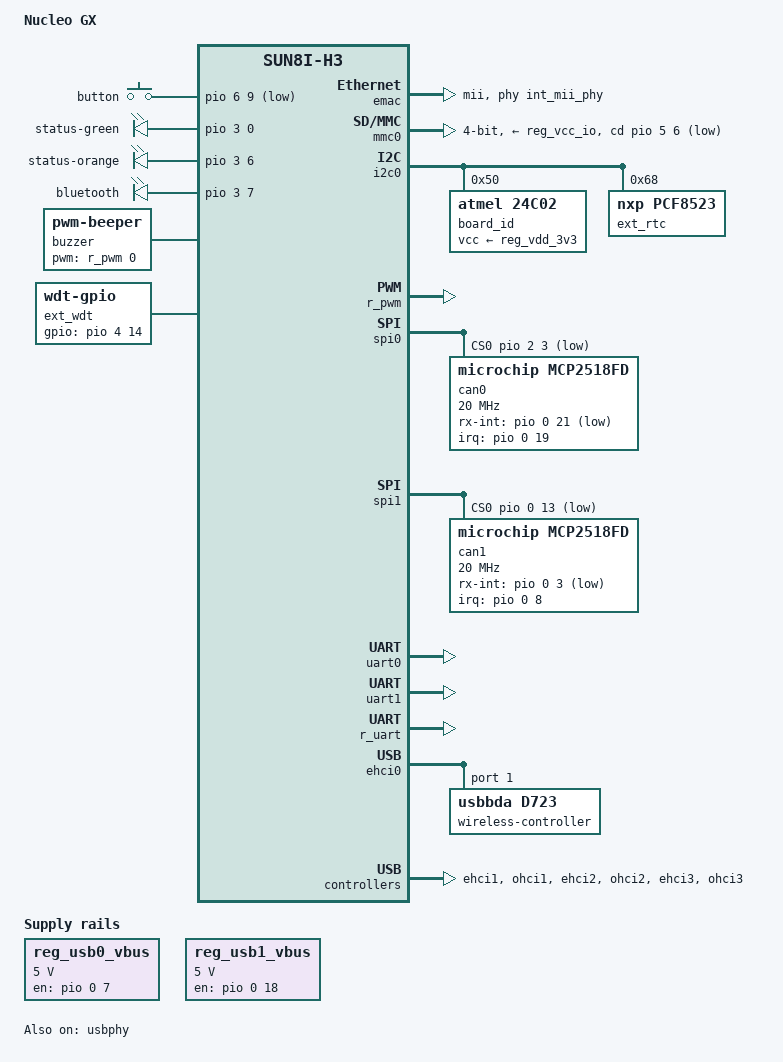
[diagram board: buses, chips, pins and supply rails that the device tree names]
// SPDX-License-Identifier: GPL-2.0 OR X11
/*
 * Copyright (C) 2023 Mans Rullgard <mans@mansr.com>
 */

/dts-v1/;

#include "sun8i-h3-sinh3-core.dtsi"
#include <dt-bindings/input/input.h>

/ {
	model = "Nucleo GX";
	compatible = "victronenergy,nucleo-gx",
		     "sinlinx,sinh3-core",
		     "allwinner,sun8i-h3";

	aliases {
		ethernet0 = &emac;
		hwmon0 = &cpu_thermal;
		i2c0 = &i2c0;
		mmc0 = &mmc0;
		mmc1 = &mmc2;
		nvmem0 = &board_id;
		rtc0 = &ext_rtc;
		rtc1 = &rtc;
		serial0 = &uart0;
		serial1 = &uart1;
		serial2 = &r_uart;
		watchdog0 = &ext_wdt;
		watchdog1 = &wdt0;
	};

	button {
		compatible = "gpio-keys";

		button {
			linux,code = <KEY_CONFIG>;
			gpios = <&pio 6 9 GPIO_ACTIVE_LOW>;	/* PG9 */
		};
	};

	leds {
		compatible = "gpio-leds";

		led-status-green {
			label = "status-green";
			gpios = <&pio 3 0 GPIO_ACTIVE_HIGH>;	/* PD0 */
			default-state = "off";
		};

		led-status-orange {
			label = "status-orange";
			gpios = <&pio 3 6 GPIO_ACTIVE_HIGH>;	/* PD6 */
			linux,default-trigger = "blink-slow";
		};

		led-bluetooth {
			label = "bluetooth";
			gpios = <&pio 3 7 GPIO_ACTIVE_HIGH>;	/* PD7 */
			default-state = "off";
		};
	};

	buzzer {
		compatible = "pwm-beeper";
		pwms = <&r_pwm 0 1000000 0>;
	};

	ext_wdt: watchdog {
		compatible = "linux,wdt-gpio";
		gpios = <&pio 4 14 GPIO_ACTIVE_HIGH>;		/* PE14 */
		hw_algo = "toggle";
		hw_margin_ms = <30000>;
		always-running;
	};

	can_clk: can-clk {
		compatible = "fixed-clock";
		#clock-cells = <0>;
		clock-frequency = <40000000>;
	};

	reg_usb0_vbus: usb0-vbus {
		compatible = "regulator-fixed";
		regulator-name = "usb0-vbus";
		regulator-min-microvolt = <5000000>;
		regulator-max-microvolt = <5000000>;
		enable-active-high;
		gpio = <&pio 0 7 GPIO_ACTIVE_HIGH>;		/* PA7 */
	};

	reg_usb1_vbus: usb1-vbus {
		compatible = "regulator-fixed";
		regulator-name = "usb1-vbus";
		regulator-min-microvolt = <5000000>;
		regulator-max-microvolt = <5000000>;
		enable-active-high;
		gpio = <&pio 0 18 GPIO_ACTIVE_HIGH>;		/* PA18 */
	};
};

&emac {
	phy-handle = <&int_mii_phy>;
	phy-mode = "mii";
	status = "okay";
};

&mmc0 {
	vmmc-supply = <&reg_vcc_io>;
	bus-width = <4>;
	cd-gpios = <&pio 5 6 GPIO_ACTIVE_LOW>;			/* PF6 */
	status = "okay";
};

&i2c0 {
	status = "okay";

	board_id: eeprom@50 {
		compatible = "atmel,24c02";
		reg = <0x50>;
		pagesize = <16>;
		read-only;
		vcc-supply = <&reg_vdd_3v3>;
	};

	ext_rtc: rtc@68 {
		compatible = "nxp,pcf8523";
		status = "okay";
		reg = <0x68>;
	};
};

&r_pwm {
	status = "okay";
};

&spi0 {
	status = "okay";

	assigned-clocks = <&ccu CLK_SPI0>;
	assigned-clock-rates = <600000000>;
	cs-gpios = <&pio 2 3 GPIO_ACTIVE_LOW>;			/* PC3 */

	can0: can@0 {
		compatible = "microchip,mcp2518fd";
		reg = <0>;
		spi-max-frequency = <20000000>;
		clocks = <&can_clk>;
		interrupt-parent = <&pio>;
		interrupts = <0 19 IRQ_TYPE_LEVEL_LOW>;		/* PA19 */
		microchip,rx-int-gpios = <&pio 0 21 GPIO_ACTIVE_LOW>; /* PA21 */
	};
};

&spi0_pins {
	pins = "PC0", "PC1", "PC2";
};

&spi1 {
	status = "okay";

	assigned-clocks = <&ccu CLK_SPI1>;
	assigned-clock-rates = <600000000>;
	cs-gpios = <&pio 0 13 GPIO_ACTIVE_LOW>;			/* PA13 */

	can1: can@0 {
		compatible = "microchip,mcp2518fd";
		reg = <0>;
		spi-max-frequency = <20000000>;
		clocks = <&can_clk>;
		interrupt-parent = <&pio>;
		interrupts = <0 8 IRQ_TYPE_LEVEL_LOW>;		/* PA8 */
		microchip,rx-int-gpios = <&pio 0 3 GPIO_ACTIVE_LOW>; /* PA3 */
	};
};

&spi1_pins {
	pins = "PA15", "PA16", "PA14";
};

&uart0 {
	pinctrl-names = "default";
	pinctrl-0 = <&uart0_pa_pins>;
	status = "okay";
};

&uart1 {
	pinctrl-names = "default";
	pinctrl-0 = <&uart1_pins>;
	status = "okay";
};

&r_uart {
	status = "okay";
};

&ehci0 {
	status = "okay";

	#address-cells = <1>;
	#size-cells = <0>;

	wireless-controller@1 {
		compatible = "usbbda,d723";
		reg = <1>;
	};
};

&ehci1 {
	status = "okay";
};

&ohci1 {
	status = "okay";
};

&ehci2 {
	status = "okay";
};

&ohci2 {
	status = "okay";
};

&ehci3 {
	status = "okay";
};

&ohci3 {
	status = "okay";
};

&usbphy {
	usb0_vbus-supply = <&reg_usb0_vbus>;
	usb1_vbus-supply = <&reg_usb1_vbus>;
	usb2_vbus-supply = <&reg_usb1_vbus>;
	usb3_vbus-supply = <&reg_usb1_vbus>;
	status = "okay";
};
